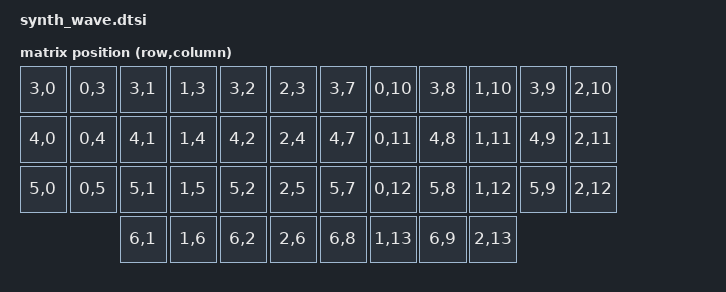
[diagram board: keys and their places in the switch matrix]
/*
 * Copyright (c) 2023 ZMK
 *
 * SPDX-License-Identifier: MIT
 */

#include <dt-bindings/zmk/matrix_transform.h>
#include <dt-bindings/zmk/bt.h>
#include <dt-bindings/zmk/rgb.h>

&usbd {
    status = "okay";
    cdc_acm_uart: cdc_acm_uart {
        compatible = "zephyr,cdc-acm-uart";
    };
};

/ {
    keys {
		compatible = "gpio-keys";
		wakeup_key: wakeup_key {
			gpios = <&pro_micro 7 (GPIO_ACTIVE_HIGH | GPIO_PULL_DOWN)>;
		};
        wakeup_pin: wakeup_pin {
			gpios = <&pro_micro 4 GPIO_ACTIVE_HIGH>;
		};
	};
    
    behaviors {
        sensors: sensors {
            compatible = "zmk,keymap-sensors";
            sensors = <&left_encoder &right_encoder>;
            triggers-per-rotation = <20>;
        };
        rgb_encoder: rgb_encoder {
            compatible = "zmk,behavior-sensor-rotate";
            #sensor-binding-cells = <0>;
            bindings = <&rgb_ug RGB_EFF>, <&rgb_ug RGB_EFR>;
        };
        bt_encoder: bt_encoder {
            compatible = "zmk,behavior-sensor-rotate";
            #sensor-binding-cells = <0>;
            bindings = <&bt BT_NXT>, <&bt BT_PRV>;
        };
		hw_soft_off: hw_soft_off {
			compatible = "zmk,behavior-soft-off";
			#binding-cells = <0>;
		};
    };

    soft_off_direct_scan: soft_off_direct_scan {
		compatible = "zmk,kscan-gpio-direct";
		input-keys = <&wakeup_key>;
	};

	wakeup_source: wakeup_source {
		compatible = "zmk,gpio-key-wakeup-trigger";
		
		trigger = <&wakeup_key>;
        extra-gpios: <&wakeup_pin>;
		wakeup-source;
	};

        soft_off_wakers {
		compatible = "zmk,soft-off-wakeup-sources";
		wakeup-sources = <&wakeup_source>;
	};
    side_band_behavior_triggers {
		compatible = "zmk,kscan-sideband-behaviors";
		wakeup-source;
		kscan = <&soft_off_direct_scan>;
		soft_off {
			column = <3>;
			row = <0>;
			bindings = <&hw_soft_off>;
		};
	};
    
    chosen {
        zmk,kscan = &kscan0;
        zmk,matrix_transform = &default_transform;

        /delete-property/ zephyr,console;
        /delete-property/ zephyr,shell-uart;

        zephyr,console = &cdc_acm_uart;
    };

    default_transform: keymap_transform_0 {
        compatible = "zmk,matrix-transform";
        columns = <14>;
        rows = <7>;

        map = <
            RC(3,0) RC(0,3) RC(3,1) RC(1,3) RC(3,2) RC(2,3)      RC(3,7) RC(0,10) RC(3,8) RC(1,10) RC(3,9) RC(2,10)
            RC(4,0) RC(0,4) RC(4,1) RC(1,4) RC(4,2) RC(2,4)      RC(4,7) RC(0,11) RC(4,8) RC(1,11) RC(4,9) RC(2,11)
            RC(5,0) RC(0,5) RC(5,1) RC(1,5) RC(5,2) RC(2,5)      RC(5,7) RC(0,12) RC(5,8) RC(1,12) RC(5,9) RC(2,12)
                            RC(6,1) RC(1,6) RC(6,2) RC(2,6)      RC(6,8) RC(1,13) RC(6,9) RC(2,13)
        >;
    };

    kscan0: kscan_0 {
        compatible = "zmk,kscan-gpio-charlieplex";
        wakeup-source;
    };

    left_encoder: encoder_left {
        compatible = "alps,ec11";
        steps = <80>;
        status = "disabled";
        label = "encoder_left";
    };
    right_encoder: encoder_right {
        compatible = "alps,ec11";
        steps = <80>;
        status = "disabled";
        label = "encoder_right";
    };
};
